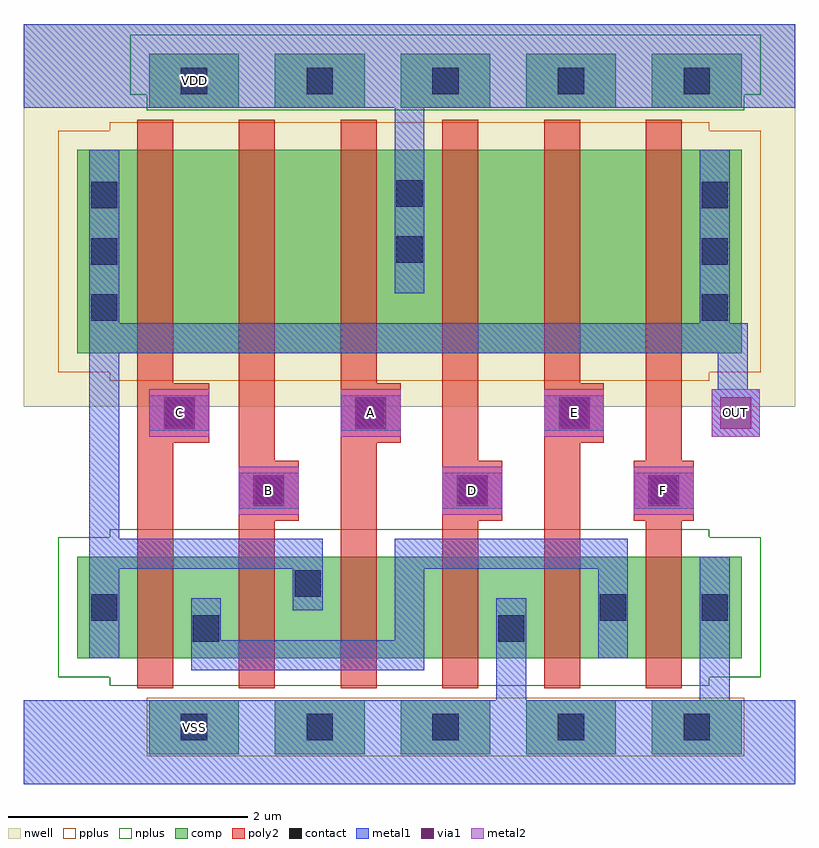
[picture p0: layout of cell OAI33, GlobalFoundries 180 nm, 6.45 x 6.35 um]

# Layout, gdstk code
import gdstk
lib = gdstk.Library(unit=1e-6, precision=1e-09)
def R(c, l, rs):  # rectangles x0, y0, x1, y1
    for r in rs: c.add(gdstk.rectangle(r[:2], r[2:], *l))
def A(c, l, x, y, w, h, nx, ny, dx, dy):  # array of equal rectangles
    R(c, l, [(x+i*dx, y+j*dy, x+i*dx+w, y+j*dy+h) for i in range(nx) for j in range(ny)])
nwell = (21, 0)
comp = (22, 0)
poly2 = (30, 0)
pplus = (31, 0)
nplus = (32, 0)
contact = (33, 0)
metal1 = (34, 0)
via1 = (35, 0)
metal2 = (36, 0)

oai33 = lib.new_cell('OAI33')
R(oai33, nwell, [(-3.1,3,3.35,6.2)])
A(oai33, comp, -2.05, 0.1, 0.75, 0.45, 5, 2, 1.05, 5.4)
R(oai33, comp, [(-2.65,0.9,2.9,1.75), (-2.65,3.45,2.9,5.15)])
A(oai33, poly2, -2.15, 0.65, 0.3, 2.05, 3, 1, 1.7, 0)
A(oai33, poly2, -1.3, 0.65, 0.3, 1.4, 3, 1, 1.7, 0)
A(oai33, poly2, -1.3, 2.55, 0.3, 2.85, 3, 1, 1.7, 0)
A(oai33, poly2, -2.15, 3.2, 0.3, 2.2, 3, 1, 1.7, 0)
R(oai33, poly2, [(-1.3,2.05,-0.8,2.55), (0.4,2.05,0.9,2.55), (2,2.05,2.5,2.55), (-2.15,2.7,-1.55,3.2), (-0.45,2.7,0.05,3.2), (1.25,2.7,1.75,3.2)])
R(oai33, pplus, [(-2.07,0.08,2.92,0.57), (-2.38,3.22,2.63,3.29), (-2.81,3.29,3.06,5.31), (-2.38,5.31,2.63,5.38)])
R(oai33, nplus, [(-2.38,0.67,2.63,0.74), (-2.81,0.74,3.06,1.91), (-2.38,1.91,2.63,1.98), (-2.07,5.48,2.92,5.61), (-2.21,5.61,3.06,6.11)])
A(oai33, contact, -1.785, 0.215, 0.22, 0.22, 5, 2, 1.05, 5.4)
A(oai33, contact, -2.535, 3.72, 0.22, 0.22, 1, 3, 0, 0.47)
A(oai33, contact, 2.565, 3.72, 0.22, 0.22, 1, 3, 0, 0.47)
R(oai33, contact, [(-1.685,1.04,-1.465,1.26), (0.865,1.04,1.085,1.26), (-2.535,1.215,-2.315,1.435), (1.715,1.215,1.935,1.435), (2.565,1.215,2.785,1.435), (-0.835,1.415,-0.615,1.635), (-1.16,2.19,-0.94,2.41), (0.54,2.19,0.76,2.41), (2.14,2.19,2.36,2.41), (-1.91,2.84,-1.69,3.06), (-0.31,2.84,-0.09,3.06), (1.39,2.84,1.61,3.06), (0.015,4.205,0.235,4.425), (0.015,4.675,0.235,4.895)])
R(oai33, metal1, [(-3.1,-0.15,3.35,0.55), (0.85,0.55,1.1,1.4), (2.55,0.55,2.8,1.75), (-1.7,0.8,0.25,1.05), (-2.55,0.9,-2.3,1.65), (1.7,0.9,1.95,1.65), (-1.7,1.05,-1.45,1.4), (0,1.05,0.25,1.65), (-0.85,1.3,-0.6,1.65), (-2.55,1.65,-0.6,1.9), (0,1.65,1.95,1.9), (-2.55,1.9,-2.3,3.45), (-1.3,2.15,-0.8,2.45), (0.4,2.15,0.9,2.45), (2,2.15,2.5,2.45), (2.65,2.75,3.05,3.15), (-2.05,2.8,-1.55,3.1), (-0.45,2.8,0.05,3.1), (1.25,2.8,1.75,3.1), (2.7,3.15,2.95,3.45), (-2.55,3.45,2.95,3.7), (-2.55,3.7,-2.3,5.15), (2.55,3.7,2.8,5.15), (0,3.95,0.25,5.5), (-3.1,5.5,3.35,6.2)])
R(oai33, via1, [(-1.18,2.17,-0.92,2.43), (0.52,2.17,0.78,2.43), (2.12,2.17,2.38,2.43), (-1.93,2.82,-1.67,3.08), (-0.33,2.82,-0.07,3.08), (1.37,2.82,1.63,3.08), (2.72,2.82,2.98,3.08)])
R(oai33, metal2, [(-1.3,2.1,-0.8,2.5), (0.4,2.1,0.9,2.5), (2,2.1,2.5,2.5), (-2.05,2.75,-1.55,3.15), (-0.45,2.75,0.05,3.15), (1.25,2.75,1.75,3.15), (2.65,2.75,3.05,3.15)])
oai33.add(gdstk.Label('VDD', (-1.675,5.725), layer=34, texttype=0))
oai33.add(gdstk.Label('OUT', (2.85,2.95), layer=36, texttype=0))
oai33.add(gdstk.Label('C', (-1.8,2.95), layer=36, texttype=0))
oai33.add(gdstk.Label('B', (-1.05,2.3), layer=36, texttype=0))
oai33.add(gdstk.Label('A', (-0.2,2.95), layer=36, texttype=0))
oai33.add(gdstk.Label('D', (0.65,2.3), layer=36, texttype=0))
oai33.add(gdstk.Label('E', (1.5,2.95), layer=36, texttype=0))
oai33.add(gdstk.Label('F', (2.25,2.3), layer=36, texttype=0))
oai33.add(gdstk.Label('VSS', (-1.675,0.325), layer=34, texttype=0))

lib.write_gds('OAI33.gds')
